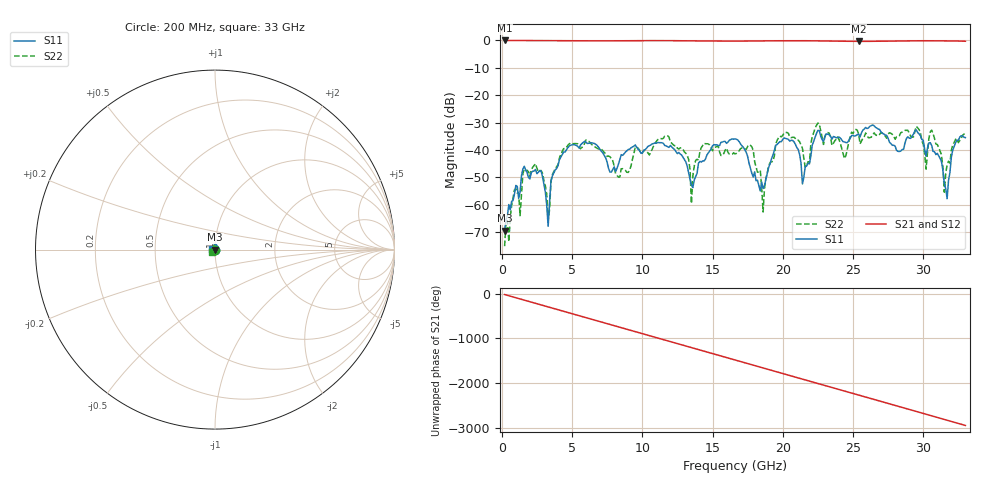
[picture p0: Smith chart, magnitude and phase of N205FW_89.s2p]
# GHZ S RI R 50
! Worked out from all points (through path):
!   329 points, 200 MHz to 33 GHz, reference 50 ohm
!   highest |S21| = -0.01 dB at 200 MHz (marker M1); lowest = -0.4 dB at 25.4 GHz (marker M2)
!   group delay of S21, straight-line fit = 248 ps
!   lowest |S11| = -69.5 dB at 200 MHz (marker M3), VSWR 1.00, Z = 50 - j0.0261 ohm
!   |S11| at or under -10 dB: start of sweep to end of sweep
!   |S22| runs from -75.1 to -30.2 dB; largest |S21 - S12| = 0.0022
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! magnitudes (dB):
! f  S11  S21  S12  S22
! 200 MHz  -69.5  0.0  0.0  -75.1
! 1.6 GHz  -46.0  0.0  0.0  -47.0
! 2.8 GHz  -47.8  -0.1  -0.1  -47.5
! 3.3 GHz  -67.9  -0.1  -0.1  -65.5
! 3.6 GHz  -49.5  -0.1  -0.1  -49.0
! 5.7 GHz  -37.7  -0.1  -0.1  -39.1
! 11.2 GHz  -37.3  -0.1  -0.1  -35.9
! 13.2 GHz  -45.9  -0.1  -0.1  -42.1
! 13.5 GHz  -52.8  -0.2  -0.2  -59.6
! 14.4 GHz  -44.0  -0.2  -0.2  -37.5
! 16.6 GHz  -36.0  -0.3  -0.3  -41.4
! 17.8 GHz  -48.5  -0.2  -0.2  -38.8
! 18.6 GHz  -54.1  -0.2  -0.2  -62.7
! 19.7 GHz  -37.4  -0.1  -0.1  -35.5
! 21.4 GHz  -52.4  -0.1  -0.1  -39.4
! 22.1 GHz  -38.2  -0.1  -0.1  -35.2
! 25.4 GHz  -34.2  -0.4  -0.3  -34.1
! 27.6 GHz  -37.2  -0.3  -0.3  -33.7
! 30.2 GHz  -42.3  -0.1  -0.1  -47.0
! 30.6 GHz  -38.3  -0.1  -0.1  -32.8
! 31.5 GHz  -52.2  -0.2  -0.2  -55.4
! 33 GHz  -35.5  -0.3  -0.3  -33.3
